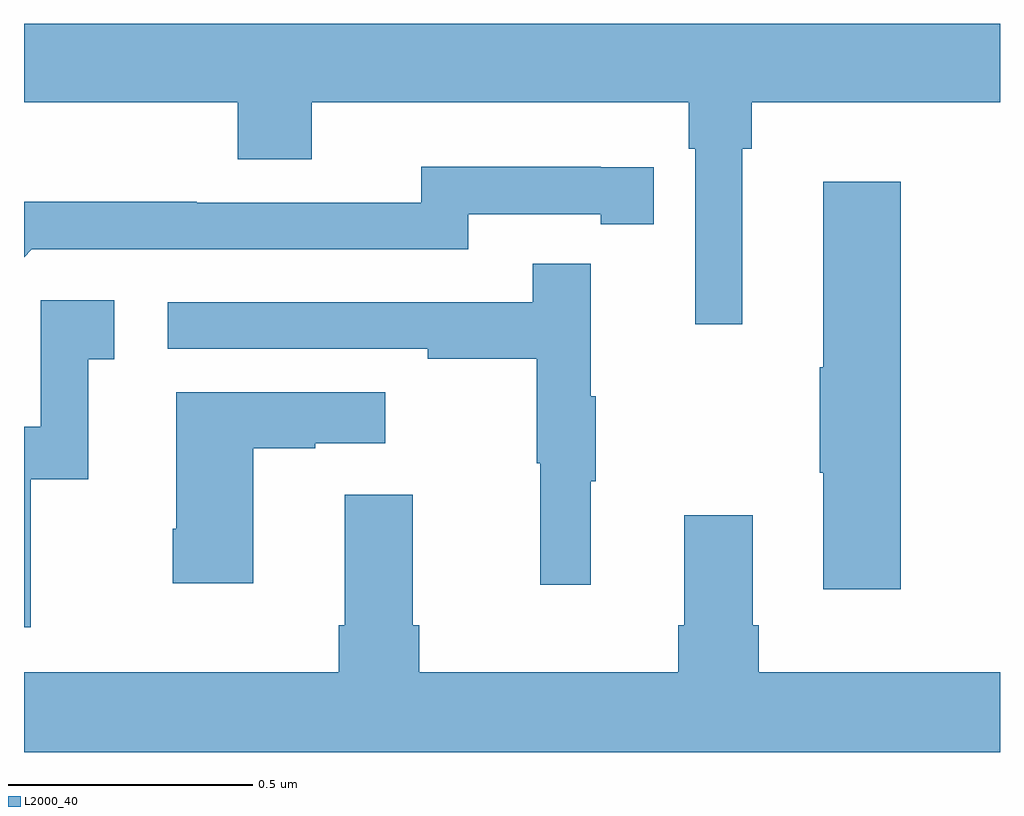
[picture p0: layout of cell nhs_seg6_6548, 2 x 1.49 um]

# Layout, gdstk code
import gdstk
lib = gdstk.Library(unit=1e-6, precision=1e-09)
def P(c, l, *ps):  # polygons
    for p in ps: c.add(gdstk.Polygon(p, *l))
L2000_40 = (2000, 40)

nhs_seg6_6548 = lib.new_cell('nhs_seg6_6548')
P(nhs_seg6_6548, L2000_40, [(198.472,943.244),(198.491,943.244),(198.491,943.34),(199,943.34),(199,943.5),(197,943.5),(197,943.34),(197.438,943.34),(197.438,943.223),(197.59,943.223),(197.59,943.34),(198.362,943.34),(198.362,943.244),(198.375,943.244),(198.375,942.885),(198.472,942.885)],
  [(197.016,943.038),(197.91,943.038),(197.91,943.11),(198.182,943.11),(198.182,943.09),(198.29,943.09),(198.29,943.206),(198.182,943.206),(198.182,943.207),(197.814,943.207),(197.814,943.134),(197.354,943.134),(197.354,943.136),(197,943.136),(197,943.022)],
  [(198.797,943.177),(198.638,943.177),(198.638,942.797),(198.631,942.797),(198.631,942.58),(198.638,942.58),(198.638,942.342),(198.797,942.342)],
  [(198.161,942.563),(198.172,942.563),(198.172,942.737),(198.161,942.737),(198.161,943.009),(198.043,943.009),(198.043,942.93),(197.295,942.93),(197.295,942.834),(197.827,942.834),(197.827,942.814),(198.051,942.814),(198.051,942.6),(198.058,942.6),(198.058,942.351),(198.161,942.351)],
  [(197.014,942.567),(197.132,942.567),(197.132,942.813),(197.185,942.813),(197.185,942.934),(197.034,942.934),(197.034,942.675),(197,942.675),(197,942.264),(197.014,942.264)],
  [(197.47,942.631),(197.597,942.631),(197.597,942.641),(197.74,942.641),(197.74,942.745),(197.312,942.745),(197.312,942.466),(197.305,942.466),(197.305,942.354),(197.47,942.354)],
  [(199,942.172),(198.506,942.172),(198.506,942.268),(198.493,942.268),(198.493,942.493),(198.353,942.493),(198.353,942.268),(198.341,942.268),(198.341,942.172),(197.81,942.172),(197.81,942.268),(197.797,942.268),(197.797,942.535),(197.657,942.535),(197.657,942.268),(197.645,942.268),(197.645,942.172),(197,942.172),(197,942.008),(199,942.008)])

lib.write_gds('nhs_seg6_6548.gds')
